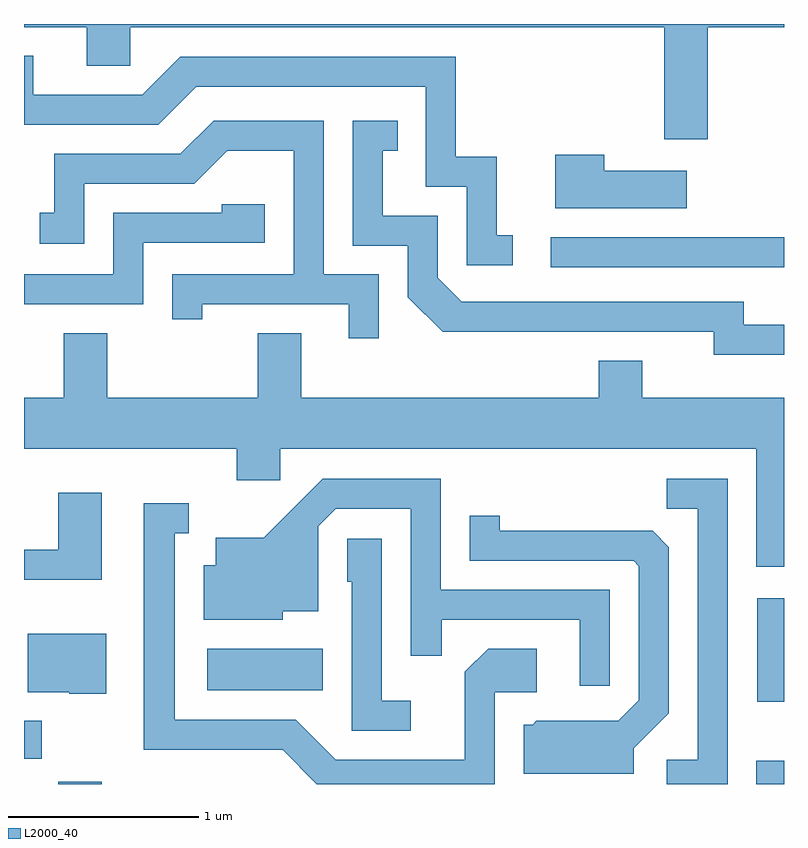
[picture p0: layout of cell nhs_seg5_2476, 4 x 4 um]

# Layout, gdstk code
import gdstk
lib = gdstk.Library(unit=1e-6, precision=1e-09)
def R(c, l, rs):  # rectangles x0, y0, x1, y1
    for r in rs: c.add(gdstk.rectangle(r[:2], r[2:], *l))
def P(c, l, *ps):  # polygons
    for p in ps: c.add(gdstk.Polygon(p, *l))
L2000_40 = (2000, 40)

nhs_seg5_2476 = lib.new_cell('nhs_seg5_2476')
R(nhs_seg5_2476, L2000_40, [(257.791,1526.072,258.019,1526.084), (261.466,1526.072,261.611,1526.194), (257.611,1526.206,257.704,1526.404), (261.471,1526.506,261.611,1527.049), (258.576,1526.566,259.184,1526.784), (260.383,1528.791,261.611,1528.949)])
P(nhs_seg5_2476, L2000_40, [(261.209,1530.056),(261.611,1530.056),(261.611,1530.072),(257.611,1530.072),(257.611,1530.056),(257.941,1530.056),(257.941,1529.851),(258.169,1529.851),(258.169,1530.056),(260.981,1530.056),(260.981,1529.466),(261.209,1529.466)],
  [(260.183,1528.959),(260.099,1528.959),(260.099,1529.374),(259.884,1529.374),(259.884,1529.899),(258.433,1529.899),(258.234,1529.699),(257.659,1529.699),(257.659,1529.904),(257.611,1529.904),(257.611,1529.541),(258.317,1529.541),(258.517,1529.741),(259.726,1529.741),(259.726,1529.216),(259.941,1529.216),(259.941,1528.801),(260.183,1528.801)],
  [(261.611,1528.489),(261.399,1528.489),(261.399,1528.609),(259.916,1528.609),(259.789,1528.737),(259.789,1529.064),(259.499,1529.064),(259.499,1529.406),(259.578,1529.406),(259.578,1529.564),(259.341,1529.564),(259.341,1528.906),(259.631,1528.906),(259.631,1528.634),(259.814,1528.451),(261.241,1528.451),(261.241,1528.331),(261.611,1528.331)],
  [(259.479,1528.754),(259.189,1528.754),(259.189,1529.564),(258.609,1529.564),(258.433,1529.389),(257.771,1529.389),(257.771,1529.079),(257.693,1529.079),(257.693,1528.916),(257.929,1528.916),(257.929,1529.231),(258.507,1529.231),(258.682,1529.406),(259.031,1529.406),(259.031,1528.754),(258.391,1528.754),(258.391,1528.518),(258.549,1528.518),(258.549,1528.596),(259.321,1528.596),(259.321,1528.418),(259.479,1528.418)],
  [(261.099,1529.299),(260.664,1529.299),(260.664,1529.384),(260.406,1529.384),(260.406,1529.101),(261.099,1529.101)],
  [(258.239,1528.921),(258.879,1528.921),(258.879,1529.124),(258.651,1529.124),(258.651,1529.079),(258.081,1529.079),(258.081,1528.754),(257.611,1528.754),(257.611,1528.596),(258.239,1528.596)],
  [(261.611,1528.104),(260.864,1528.104),(260.864,1528.299),(260.636,1528.299),(260.636,1528.104),(259.069,1528.104),(259.069,1528.444),(258.841,1528.444),(258.841,1528.104),(258.049,1528.104),(258.049,1528.444),(257.821,1528.444),(257.821,1528.104),(257.611,1528.104),(257.611,1527.836),(258.731,1527.836),(258.731,1527.671),(258.959,1527.671),(258.959,1527.836),(261.466,1527.836),(261.466,1527.216),(261.611,1527.216)],
  [(260.694,1527.094),(259.804,1527.094),(259.804,1527.679),(259.183,1527.679),(258.873,1527.369),(258.621,1527.369),(258.621,1527.224),(258.556,1527.224),(258.556,1526.936),(258.974,1526.936),(258.974,1526.981),(259.159,1526.981),(259.159,1527.429),(259.252,1527.521),(259.646,1527.521),(259.646,1526.748),(259.809,1526.748),(259.809,1526.936),(260.536,1526.936),(260.536,1526.588),(260.694,1526.588)],
  [(261.314,1527.679),(260.993,1527.679),(260.993,1527.521),(261.156,1527.521),(261.156,1526.199),(260.993,1526.199),(260.993,1526.072),(261.314,1526.072)],
  [(258.019,1527.604),(257.791,1527.604),(257.791,1527.304),(257.611,1527.304),(257.611,1527.146),(258.019,1527.146)],
  [(260.089,1526.556),(260.309,1526.556),(260.309,1526.784),(260.054,1526.784),(259.931,1526.662),(259.931,1526.199),(259.252,1526.199),(259.041,1526.409),(258.404,1526.409),(258.404,1527.391),(258.478,1527.391),(258.478,1527.549),(258.241,1527.549),(258.241,1526.251),(258.974,1526.251),(259.152,1526.072),(260.089,1526.072)],
  [(260.819,1526.259),(261.004,1526.444),(261.004,1527.319),(260.919,1527.404),(260.114,1527.404),(260.114,1527.483),(259.956,1527.483),(259.956,1527.246),(260.819,1527.246),(260.846,1527.219),(260.846,1526.512),(260.739,1526.404),(260.308,1526.404),(260.289,1526.384),(260.241,1526.384),(260.241,1526.126),(260.819,1526.126)],
  [(259.647,1526.509),(259.494,1526.509),(259.494,1527.364),(259.311,1527.364),(259.311,1527.136),(259.336,1527.136),(259.336,1526.351),(259.647,1526.351)],
  [(258.044,1526.864),(257.631,1526.864),(257.631,1526.556),(257.85,1526.556),(257.85,1526.546),(258.044,1526.546)])

lib.write_gds('nhs_seg5_2476.gds')
